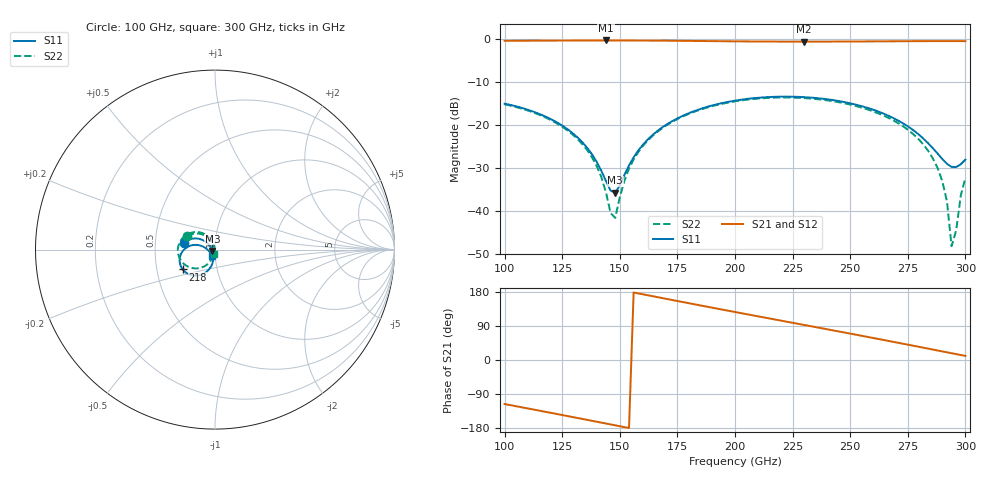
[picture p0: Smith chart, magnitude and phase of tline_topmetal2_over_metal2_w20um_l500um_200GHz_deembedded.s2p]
! Created with skrf 2.0.1 (http://scikit-rf.org).
# GHz S DB R 50.0
!freq dBS11 angS11 dBS21 angS21 dBS12 angS12 dBS22 angS22
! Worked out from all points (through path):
!   101 points, 100 GHz to 300 GHz, reference 50 ohm
!   highest |S21| = -0.42 dB at 144 GHz (marker M1); lowest = -0.7 dB at 230 GHz (marker M2)
!   group delay of S21, straight-line fit = 3.23 ps
!   lowest |S11| = -35.9 dB at 148 GHz (marker M3), VSWR 1.03, Z = 48.6 - j0.757 ohm
!   |S11| at or under -10 dB: start of sweep to end of sweep
!   |S22| runs from -48.3 to -13.7 dB; largest |S21 - S12| = 1.1e-14
!   S11 on the Smith chart (normalised r, x): 100 GHz: 0.71, +0.06; 218 GHz: 0.68, -0.16; 300 GHz: 0.96, -0.07
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100  -15.11 167.1  -0.50 -116.3  -0.50 -116.3  -15.27 154.0
120  -18.70 148.0  -0.45 -139.4  -0.45 -139.4  -18.92 131.0
134  -24.24 139.9  -0.42 -155.8  -0.42 -155.8  -24.69 117.5
140  -28.69 143.9  -0.42 -162.9  -0.42 -162.9  -29.65 115.9
144  -33.11 159.9  -0.42 -167.6  -0.42 -167.6  -35.75 125.3
146  -35.33 179.8  -0.42 -170.0  -0.42 -170.0  -40.54 148.7
148  -35.85 -151.1  -0.42 -172.4  -0.42 -172.4  -41.69 -153.8
152  -31.68 -112.6  -0.42 -177.1  -0.42 -177.1  -33.03 -112.0
156  -27.61 -101.8  -0.43 178.1  -0.43 178.1  -28.11 -108.2
168  -20.79 -102.5  -0.47 163.9  -0.47 163.9  -20.97 -116.8
200  -14.41 -130.9  -0.62 126.7  -0.62 126.7  -14.58 -152.9
218  -13.51 -148.4  -0.68 106.1  -0.68 106.1  -13.70 -173.9
230  -13.60 -159.9  -0.69 92.5  -0.69 92.5  -13.82 172.1
234  -13.75 -163.7  -0.69 87.9  -0.69 87.9  -13.98 167.4
268  -18.28 167.9  -0.61 48.7  -0.61 48.7  -18.80 127.1
280  -22.40 165.0  -0.58 34.6  -0.58 34.6  -23.56 112.9
288  -26.77 175.7  -0.57 25.1  -0.57 25.1  -30.17 104.6
292  -29.12 -167.1  -0.57 20.3  -0.57 20.3  -37.84 103.7
294  -29.82 -153.9  -0.57 17.9  -0.57 17.9  -48.26 118.1
296  -29.86 -139.4  -0.57 15.5  -0.57 15.5  -44.60 -103.6
298  -29.22 -125.9  -0.57 13.1  -0.57 13.1  -36.49 -96.7
300  -28.13 -115.4  -0.57 10.7  -0.57 10.7  -32.34 -96.9
